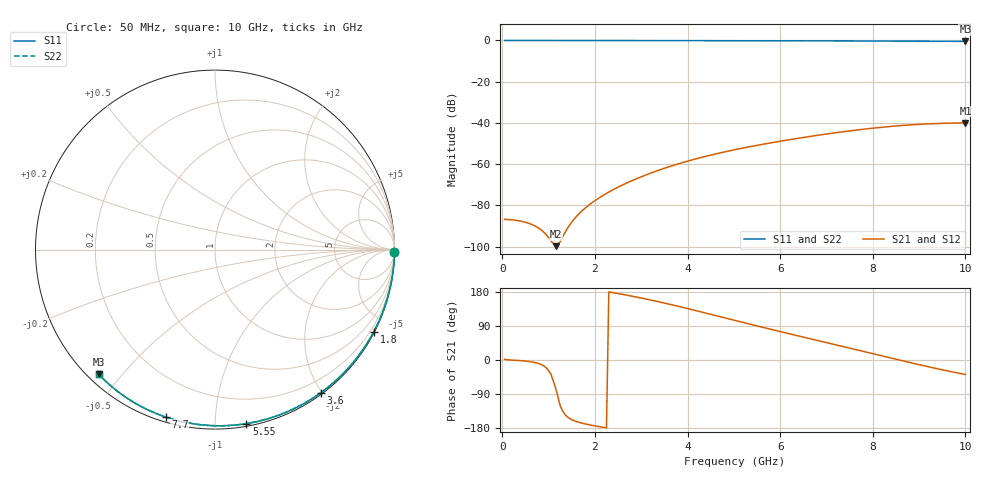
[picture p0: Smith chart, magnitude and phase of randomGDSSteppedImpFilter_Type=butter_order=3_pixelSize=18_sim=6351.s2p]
! freq	dB(S11)	phase(S11)	dB(S12)	phase(S12)
!  dB(S21)	phase(S21)	dB(S22)	phase(S22)
!S-par simulation data
#  GHz  S  DB  R 50
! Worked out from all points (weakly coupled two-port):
!   200 points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, 50 MHz to 10 GHz, reference 50 ohm
!   highest |S21| = -39.96 dB at 10 GHz (marker M1); lowest = -99.8 dB at 1.15 GHz (marker M2)
!   lowest |S11| = -0.4 dB at 10 GHz (marker M3), VSWR 38.89, Z = 1.53 - j21.7 ohm
!   |S11| at or under -10 dB: nowhere
!   |S22| runs from -0.4 to 0.0 dB; largest |S21 - S12| = 0
!   S11 on the Smith chart (normalised r, x): 50 MHz: open; 1.8 GHz: 0.04, -4.11; 3.6 GHz: 0.02, -1.99; 5.55 GHz: 0.02, -1.20; 7.7 GHz: 0.02, -0.75; 10 GHz: 0.03, -0.43
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0.05  -0.00 -0.8  -86.79 2.0  -86.79 2.0  -0.00 -0.8
0.6  -0.01 -9.2  -88.92 -4.3  -88.92 -4.3  -0.01 -9.2
1.15  -0.02 -17.6  -99.78 -73.3  -99.78 -73.3  -0.02 -17.6
1.75  -0.03 -26.6  -82.08 -167.5  -82.08 -167.5  -0.03 -26.6
1.8  -0.03 -27.3  -81.11 -168.9  -81.11 -168.9  -0.03 -27.3
1.85  -0.04 -28.1  -80.20 -170.2  -80.20 -170.2  -0.04 -28.1
2.2  -0.04 -33.2  -74.84 -178.2  -74.84 -178.2  -0.04 -33.2
2.35  -0.05 -35.5  -72.91 178.6  -72.91 178.6  -0.05 -35.5
2.55  -0.05 -38.4  -70.59 174.2  -70.59 174.2  -0.05 -38.4
2.95  -0.06 -44.2  -66.57 164.8  -66.57 164.8  -0.06 -44.2
3.4  -0.07 -50.6  -62.76 153.0  -62.76 153.0  -0.07 -50.6
3.6  -0.07 -53.4  -61.25 147.5  -61.25 147.5  -0.07 -53.4
3.9  -0.08 -57.6  -59.18 138.8  -59.18 138.8  -0.08 -57.6
4.3  -0.09 -63.1  -56.73 126.7  -56.73 126.7  -0.09 -63.1
5.05  -0.11 -73.2  -52.85 103.7  -52.85 103.7  -0.11 -73.2
5.55  -0.13 -79.7  -50.66 88.4  -50.66 88.4  -0.13 -79.7
6.1  -0.15 -86.8  -48.50 72.1  -48.50 72.1  -0.15 -86.8
6.7  -0.18 -94.3  -46.37 54.6  -46.37 54.6  -0.18 -94.3
7.7  -0.24 -106.5  -43.31 25.5  -43.31 25.5  -0.24 -106.4
8.35  -0.29 -114.1  -41.77 6.4  -41.77 6.4  -0.29 -114.1
9.15  -0.36 -123.4  -40.52 -16.5  -40.52 -16.5  -0.36 -123.4
10  -0.45 -133.1  -39.96 -38.3  -39.96 -38.3  -0.45 -133.1
